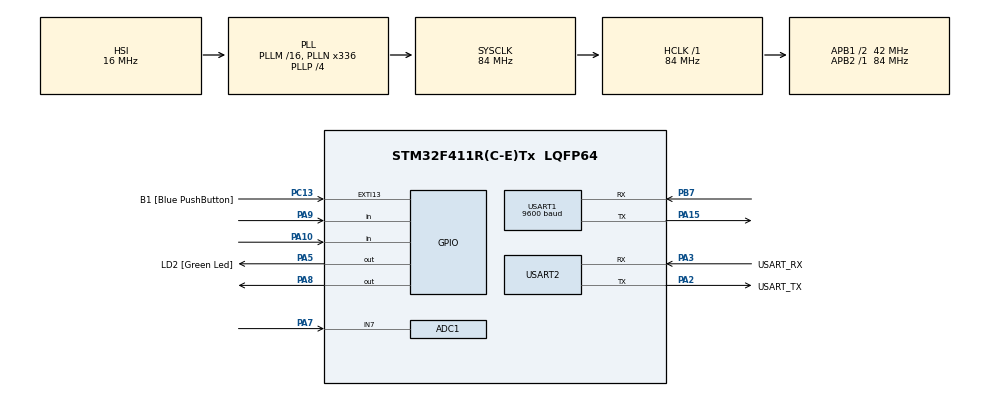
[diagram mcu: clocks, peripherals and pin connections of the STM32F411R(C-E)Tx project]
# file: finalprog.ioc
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ADC1.Channel-0\#ChannelRegularConversion=ADC_CHANNEL_7
ADC1.NbrOfConversionFlag=1
ADC1.Rank-0\#ChannelRegularConversion=1
ADC1.SamplingTime-0\#ChannelRegularConversion=ADC_SAMPLETIME_3CYCLES
ADC1.master=1
Mcu.Family=STM32F4
Mcu.Name=STM32F411R(C-E)Tx
Mcu.Package=LQFP64
NVIC.PriorityGroup=NVIC_PRIORITYGROUP_0
NVIC.TIM3_IRQn=true\:0\:0\:false\:false\:true\:true\:true
PA10.Signal=GPIO_Input
PA13.GPIO_Label=TMS
PA13.Mode=Serial_Wire
PA13.Signal=SYS_JTMS-SWDIO
PA14.GPIO_Label=TCK
PA14.Mode=Serial_Wire
PA14.Signal=SYS_JTCK-SWCLK
PA15.Mode=Asynchronous
PA15.Signal=USART1_TX
PA2.GPIO_Label=USART_TX
PA2.Mode=Asynchronous
PA2.Signal=USART2_TX
PA3.GPIO_Label=USART_RX
PA3.Mode=Asynchronous
PA3.Signal=USART2_RX
PA5.GPIO_Label=LD2 [Green Led]
PA5.Signal=GPIO_Output
PA7.Signal=ADCx_IN7
PA8.Signal=GPIO_Output
PA9.Signal=GPIO_Input
PB3.GPIO_Label=SWO
PB3.Signal=SYS_JTDO-SWO
PB7.Mode=Asynchronous
PB7.Signal=USART1_RX
PC13-ANTI_TAMP.GPIO_Label=B1 [Blue PushButton]
PC13-ANTI_TAMP.GPIO_ModeDefaultEXTI=GPIO_MODE_IT_FALLING
PC13-ANTI_TAMP.Signal=GPXTI13
PC14-OSC32_IN.Mode=LSE-External-Oscillator
PC14-OSC32_IN.Signal=RCC_OSC32_IN
PC15-OSC32_OUT.Mode=LSE-External-Oscillator
PC15-OSC32_OUT.Signal=RCC_OSC32_OUT
PH0\ -\ OSC_IN.Mode=HSE-External-Clock-Source
PH0\ -\ OSC_IN.Signal=RCC_OSC_IN
PH1\ -\ OSC_OUT.Mode=HSE-External-Clock-Source
PH1\ -\ OSC_OUT.Signal=RCC_OSC_OUT
ProjectManager.HeapSize=0x200
ProjectManager.StackSize=0x400
ProjectManager.TargetToolchain=STM32CubeIDE
RCC.48MHZClocksFreq_Value=84000000
RCC.AHBFreq_Value=84000000
RCC.APB1CLKDivider=RCC_HCLK_DIV2
RCC.APB1Freq_Value=42000000
RCC.APB1TimFreq_Value=84000000
RCC.APB2Freq_Value=84000000
RCC.APB2TimFreq_Value=84000000
RCC.CortexFreq_Value=84000000
RCC.FLatency-AdvancedSettings=FLASH_LATENCY_2
RCC.HCLKFreq_Value=84000000
RCC.HSE_VALUE=8000000
RCC.HSI_VALUE=16000000
RCC.PLLN=336
RCC.PLLP=RCC_PLLP_DIV4
RCC.SYSCLKFreq_VALUE=84000000
RCC.SYSCLKSource=RCC_SYSCLKSOURCE_PLLCLK
RCC.VCOOutputFreq_Value=336000000
SH.ADCx_IN7.0=ADC1_IN7,IN7
TIM3.Channel-Output\ Compare1\ No\ Output=TIM_CHANNEL_1
TIM3.Period=8400
TIM3.Prescaler=2000
TIM4.Prescaler=83
USART1.BaudRate=9600
USART1.VirtualMode=VM_ASYNC
USART2.VirtualMode=VM_ASYNC
VP_TIM3_VS_no_output1.Mode=Output Compare1 No Output
VP_TIM4_VS_ClockSourceINT.Mode=Internal
board=NUCLEO-F411RE

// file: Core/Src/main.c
/* USER CODE BEGIN Header */
/**
  ******************************************************************************
  * @file           : main.c
  * @brief          : Main program body
  ******************************************************************************
  * @attention
  *
  * <h2><center>&copy; Copyright (c) 2021 STMicroelectronics.
  * All rights reserved.</center></h2>
  *
  * This software component is licensed by ST under BSD 3-Clause license,
  * the "License"; You may not use this file except in compliance with the
  * License. You may obtain a copy of the License at:
  *                        opensource.org/licenses/BSD-3-Clause
  *
  ******************************************************************************
  */
/* USER CODE END Header */
#include "main.h"

/* USER CODE BEGIN PTD */
#define usTIM	TIM4
#define ECHO_GPIO_Port GPIOA
#define ECHO_Pin GPIO_PIN_9
#define TRIG_GPIO_Port GPIOA
#define TRIG_Pin GPIO_PIN_8
#define ECHO_GPIO_Port_2 GPIOA
#define ECHO_Pin_2 GPIO_PIN_10
#define TRIG_DIS 30
/* USER CODE END PTD */

ADC_HandleTypeDef hadc1;

TIM_HandleTypeDef htim3;
TIM_HandleTypeDef htim4;

UART_HandleTypeDef huart1;
UART_HandleTypeDef huart2;

void SystemClock_Config(void);
static void MX_GPIO_Init(void);
static void MX_USART2_UART_Init(void);
static void MX_TIM4_Init(void);
static void MX_ADC1_Init(void);
static void MX_TIM3_Init(void);
static void MX_USART1_UART_Init(void);

/* USER CODE BEGIN 0 */
void usDelay(uint32_t uSec)
{
	if(uSec < 2) uSec = 2;
	usTIM->ARR = uSec - 1; 	/*sets the value in the auto-reload register*/
	usTIM->EGR = 1; 			/*Re-initialises the timer*/
	usTIM->SR &= ~1; 		//Resets the flag
	usTIM->CR1 |= 1; 		//Enables the counter
	while((usTIM->SR&0x0001) != 1);
	usTIM->SR &= ~(0x0001);
}
const float speedOfSound = 0.0343/2;
float distance;
float distance_2;
int count=0;
int count2=0;
int walking=0;
char uartBuf[100];
char uartBuf_2[100];
char input[100];
int timeout_count = 0;
uint16_t AD_RES = 0, Vamb, DC_Multiplier;
void HAL_TIM_PeriodElapsedCallback(TIM_HandleTypeDef *htim){
	if(htim==&htim3){
		HAL_ADC_Start(&hadc1);
	  // Poll ADC1 Perihperal & TimeOut = 1mSec
	  HAL_ADC_PollForConversion(&hadc1, 1);
	  // Read The ADC Conversion Result & Map It To PWM DutyCycle
	  AD_RES = HAL_ADC_GetValue(&hadc1);

	  sprintf(uartBuf_2, "TID: %d\r\n",AD_RES);
	  HAL_UART_Transmit(&huart2, (uint8_t *)uartBuf_2, strlen(uartBuf_2), 100);
	}
}
/* USER CODE END 0 */

int main(void)
{
  /* USER CODE BEGIN 1 */
	uint32_t numTicks = 0;
	uint32_t numTicks_2=0;
  /* USER CODE END 1 */

  /* MCU Configuration--------------------------------------------------------*/

  /* Reset of all peripherals, Initializes the Flash interface and the Systick. */
  HAL_Init();

  /* Configure the system clock */
  SystemClock_Config();

  /* Initialize all configured peripherals */
  MX_GPIO_Init();
  MX_USART2_UART_Init();
  MX_TIM4_Init();
  MX_ADC1_Init();
  MX_TIM3_Init();
  MX_USART1_UART_Init();
  /* USER CODE BEGIN 2 */
  HAL_ADC_Start(&hadc1);
    HAL_ADC_PollForConversion(&hadc1, 1);
    Vamb = HAL_ADC_GetValue(&hadc1);
    DC_Multiplier = 65535/(4096-Vamb);
    HAL_TIM_Base_Start_IT(&htim3);
    int counttemp=0;

  /* USER CODE END 2 */

  /* Infinite loop */
  while (1)
  {

    /* USER CODE BEGIN 3 */
	  if(counttemp==10) {
		  sprintf(uartBuf, "data %d %d;\r\n", count, AD_RES);
	    			HAL_UART_Transmit(&huart1, (uint8_t *)uartBuf, strlen(uartBuf), 1000);
	    			HAL_UART_Transmit(&huart2, (uint8_t *)uartBuf, strlen(uartBuf), 1000);

	    			counttemp=0;
	  }
	  else counttemp++;

	  //Set TRIG to LOW for few uSec
	  		HAL_GPIO_WritePin(TRIG_GPIO_Port, TRIG_Pin, GPIO_PIN_RESET);
	  		usDelay(3);

	  		//*** START Ultrasonic measure routine ***//
	  		//1. Output 10 usec TRIG
	  		HAL_GPIO_WritePin(TRIG_GPIO_Port, TRIG_Pin, GPIO_PIN_SET);
	  		usDelay(10);
	  		HAL_GPIO_WritePin(TRIG_GPIO_Port, TRIG_Pin, GPIO_PIN_RESET);

	  		//2. Wait for ECHO pin rising edge
        timeout_count = 0;
	  		while(HAL_GPIO_ReadPin(ECHO_GPIO_Port, ECHO_Pin) == GPIO_PIN_RESET || HAL_GPIO_ReadPin(ECHO_GPIO_Port_2, ECHO_Pin_2) == GPIO_PIN_RESET){
          if(timeout_count >= 30000){
            sprintf(uartBuf, "before timeout %d\r\n", timeout_count);
	    		  HAL_UART_Transmit(&huart2, (uint8_t *)uartBuf, strlen(uartBuf), 1000);
            goto timeout;
          }
          timeout_count++;
        }

	  		//3. Start measuring ECHO pulse width in usec
	  		numTicks = 0;
	  		numTicks_2=0;
	  		while(HAL_GPIO_ReadPin(ECHO_GPIO_Port, ECHO_Pin) == GPIO_PIN_SET || HAL_GPIO_ReadPin(ECHO_GPIO_Port_2, ECHO_Pin_2) == GPIO_PIN_SET )
	  		{
	  			if(HAL_GPIO_ReadPin(ECHO_GPIO_Port, ECHO_Pin) == GPIO_PIN_SET) {
	  				numTicks++;
	  			}
	  			if(HAL_GPIO_ReadPin(ECHO_GPIO_Port_2, ECHO_Pin_2) == GPIO_PIN_SET ) {
	  				numTicks_2++;
	  			}

          if(numTicks > 1500){
            numTicks = 1500;
          }
          if(numTicks_2 > 1500){
            numTicks_2 = 1500;
          }

          if(numTicks >= 3000 && numTicks_2 >= 3000){
            sprintf(uartBuf, "numTicks timeout\r\n");
	    		  HAL_UART_Transmit(&huart2, (uint8_t *)uartBuf, strlen(uartBuf), 1000);
            break;
          }
	  			usDelay(2); //2.8usec
	  		};

	  		//4. Estimate distance in cm
	  		distance = (numTicks + 0.0f)*2.8*speedOfSound;
	  		distance_2= (numTicks_2 + 0.0f)*2.8*speedOfSound;

	  		//5. Print to UART terminal for debugging
	  		if(distance<TRIG_DIS||distance_2<TRIG_DIS) {
	  			//sprintf(uartBuf, "Distance (cm)  = %.1f, %.1f\r\n", distance,distance_2);
	  		//HAL_UART_Transmit(&huart2, (uint8_t *)uartBuf, strlen(uartBuf), 100);
	  			if(walking==0) {
	  				if(distance_2<TRIG_DIS) walking=1;
	  				else walking=-1;
	  			}
	  			else if (walking==1) {
	  				if(distance<TRIG_DIS) {
	  					walking=2;
	  				}
	  			}
	  			else if (walking==-1) {
	  				if(distance_2<TRIG_DIS) walking=-2;
	  			}
	  		}
	  		else {
	  			if(walking==2) count++;
	  			else if(walking==-2) count--;
	  			walking=0;
	  			//sprintf(uartBuf, "People in the room  = %d\r\n", count);
	  			//HAL_UART_Transmit(&huart2, (uint8_t *)uartBuf, strlen(uartBuf), 100);
	  			//HAL_ADC_Start(&hadc1);
	  				  			      // Poll ADC1 Perihperal & TimeOut = 1mSec
	  				//  			    	HAL_ADC_PollForConversion(&hadc1, 1);
	  				  			      // Read The ADC Conversion Result & Map It To PWM DutyCycle
	  				  //			    	AD_RES = HAL_ADC_GetValue(&hadc1);
	  				  	//		    	sprintf(uartBuf, "TID: %d\r\n", AD_RES);
	  				  		//	    	HAL_UART_Transmit(&huart2, (uint8_t *)uartBuf, strlen(uartBuf), 100);
	  		}
	  		count2=count;

        //if(HAL_UART_Receive(&huart1, &input, 1, 1000) == HAL_OK){
          //sprintf(uartBuf, "data input: %s\r\n", input);
          //HAL_UART_Transmit(&huart2, (uint8_t *)uartBuf, strlen(uartBuf), 1000);
        //}

        timeout:;
	  		HAL_Delay(50);

  }
  /* USER CODE END 3 */
}

void SystemClock_Config(void)
{
  RCC_OscInitTypeDef RCC_OscInitStruct = {0};
  RCC_ClkInitTypeDef RCC_ClkInitStruct = {0};

  /** Configure the main internal regulator output voltage
  */
  __HAL_RCC_PWR_CLK_ENABLE();
  __HAL_PWR_VOLTAGESCALING_CONFIG(PWR_REGULATOR_VOLTAGE_SCALE1);
  /** Initializes the RCC Oscillators according to the specified parameters
  * in the RCC_OscInitTypeDef structure.
  */
  RCC_OscInitStruct.OscillatorType = RCC_OSCILLATORTYPE_HSI;
  RCC_OscInitStruct.HSIState = RCC_HSI_ON;
  RCC_OscInitStruct.HSICalibrationValue = RCC_HSICALIBRATION_DEFAULT;
  RCC_OscInitStruct.PLL.PLLState = RCC_PLL_ON;
  RCC_OscInitStruct.PLL.PLLSource = RCC_PLLSOURCE_HSI;
  RCC_OscInitStruct.PLL.PLLM = 16;
  RCC_OscInitStruct.PLL.PLLN = 336;
  RCC_OscInitStruct.PLL.PLLP = RCC_PLLP_DIV4;
  RCC_OscInitStruct.PLL.PLLQ = 4;
  if (HAL_RCC_OscConfig(&RCC_OscInitStruct) != HAL_OK)
  {
    Error_Handler();
  }
  /** Initializes the CPU, AHB and APB buses clocks
  */
  RCC_ClkInitStruct.ClockType = RCC_CLOCKTYPE_HCLK|RCC_CLOCKTYPE_SYSCLK
                              |RCC_CLOCKTYPE_PCLK1|RCC_CLOCKTYPE_PCLK2;
  RCC_ClkInitStruct.SYSCLKSource = RCC_SYSCLKSOURCE_PLLCLK;
  RCC_ClkInitStruct.AHBCLKDivider = RCC_SYSCLK_DIV1;
  RCC_ClkInitStruct.APB1CLKDivider = RCC_HCLK_DIV2;
  RCC_ClkInitStruct.APB2CLKDivider = RCC_HCLK_DIV1;

  if (HAL_RCC_ClockConfig(&RCC_ClkInitStruct, FLASH_LATENCY_2) != HAL_OK)
  {
    Error_Handler();
  }
}

static void MX_ADC1_Init(void)
{

  ADC_ChannelConfTypeDef sConfig = {0};

  /** Configure the global features of the ADC (Clock, Resolution, Data Alignment and number of conversion)
  */
  hadc1.Instance = ADC1;
  hadc1.Init.ClockPrescaler = ADC_CLOCK_SYNC_PCLK_DIV4;
  hadc1.Init.Resolution = ADC_RESOLUTION_12B;
  hadc1.Init.ScanConvMode = DISABLE;
  hadc1.Init.ContinuousConvMode = DISABLE;
  hadc1.Init.DiscontinuousConvMode = DISABLE;
  hadc1.Init.ExternalTrigConvEdge = ADC_EXTERNALTRIGCONVEDGE_NONE;
  hadc1.Init.ExternalTrigConv = ADC_SOFTWARE_START;
  hadc1.Init.DataAlign = ADC_DATAALIGN_RIGHT;
  hadc1.Init.NbrOfConversion = 1;
  hadc1.Init.DMAContinuousRequests = DISABLE;
  hadc1.Init.EOCSelection = ADC_EOC_SINGLE_CONV;
  if (HAL_ADC_Init(&hadc1) != HAL_OK)
  {
    Error_Handler();
  }
  /** Configure for the selected ADC regular channel its corresponding rank in the sequencer and its sample time.
  */
  sConfig.Channel = ADC_CHANNEL_7;
  sConfig.Rank = 1;
  sConfig.SamplingTime = ADC_SAMPLETIME_3CYCLES;
  if (HAL_ADC_ConfigChannel(&hadc1, &sConfig) != HAL_OK)
  {
    Error_Handler();
  }

}

static void MX_TIM3_Init(void)
{

  TIM_MasterConfigTypeDef sMasterConfig = {0};
  TIM_OC_InitTypeDef sConfigOC = {0};

  htim3.Instance = TIM3;
  htim3.Init.Prescaler = 2000;
  htim3.Init.CounterMode = TIM_COUNTERMODE_UP;
  htim3.Init.Period = 8400;
  htim3.Init.ClockDivision = TIM_CLOCKDIVISION_DIV1;
  htim3.Init.AutoReloadPreload = TIM_AUTORELOAD_PRELOAD_DISABLE;
  if (HAL_TIM_OC_Init(&htim3) != HAL_OK)
  {
    Error_Handler();
  }
  sMasterConfig.MasterOutputTrigger = TIM_TRGO_RESET;
  sMasterConfig.MasterSlaveMode = TIM_MASTERSLAVEMODE_DISABLE;
  if (HAL_TIMEx_MasterConfigSynchronization(&htim3, &sMasterConfig) != HAL_OK)
  {
    Error_Handler();
  }
  sConfigOC.OCMode = TIM_OCMODE_TIMING;
  sConfigOC.Pulse = 0;
  sConfigOC.OCPolarity = TIM_OCPOLARITY_HIGH;
  sConfigOC.OCFastMode = TIM_OCFAST_DISABLE;
  if (HAL_TIM_OC_ConfigChannel(&htim3, &sConfigOC, TIM_CHANNEL_1) != HAL_OK)
  {
    Error_Handler();
  }

}

static void MX_TIM4_Init(void)
{

  TIM_ClockConfigTypeDef sClockSourceConfig = {0};
  TIM_MasterConfigTypeDef sMasterConfig = {0};

  htim4.Instance = TIM4;
  htim4.Init.Prescaler = 83;
  htim4.Init.CounterMode = TIM_COUNTERMODE_UP;
  htim4.Init.Period = 65535;
  htim4.Init.ClockDivision = TIM_CLOCKDIVISION_DIV1;
  htim4.Init.AutoReloadPreload = TIM_AUTORELOAD_PRELOAD_DISABLE;
  if (HAL_TIM_Base_Init(&htim4) != HAL_OK)
  {
    Error_Handler();
  }
  sClockSourceConfig.ClockSource = TIM_CLOCKSOURCE_INTERNAL;
  if (HAL_TIM_ConfigClockSource(&htim4, &sClockSourceConfig) != HAL_OK)
  {
    Error_Handler();
  }
  sMasterConfig.MasterOutputTrigger = TIM_TRGO_RESET;
  sMasterConfig.MasterSlaveMode = TIM_MASTERSLAVEMODE_DISABLE;
  if (HAL_TIMEx_MasterConfigSynchronization(&htim4, &sMasterConfig) != HAL_OK)
  {
    Error_Handler();
  }

}

static void MX_USART1_UART_Init(void)
{

  huart1.Instance = USART1;
  huart1.Init.BaudRate = 9600;
  huart1.Init.WordLength = UART_WORDLENGTH_8B;
  huart1.Init.StopBits = UART_STOPBITS_1;
  huart1.Init.Parity = UART_PARITY_NONE;
  huart1.Init.Mode = UART_MODE_TX_RX;
  huart1.Init.HwFlowCtl = UART_HWCONTROL_NONE;
  huart1.Init.OverSampling = UART_OVERSAMPLING_16;
  if (HAL_UART_Init(&huart1) != HAL_OK)
  {
    Error_Handler();
  }

}

static void MX_USART2_UART_Init(void)
{

  huart2.Instance = USART2;
  huart2.Init.BaudRate = 115200;
  huart2.Init.WordLength = UART_WORDLENGTH_8B;
  huart2.Init.StopBits = UART_STOPBITS_1;
  huart2.Init.Parity = UART_PARITY_NONE;
  huart2.Init.Mode = UART_MODE_TX_RX;
  huart2.Init.HwFlowCtl = UART_HWCONTROL_NONE;
  huart2.Init.OverSampling = UART_OVERSAMPLING_16;
  if (HAL_UART_Init(&huart2) != HAL_OK)
  {
    Error_Handler();
  }

}

static void MX_GPIO_Init(void)
{
  GPIO_InitTypeDef GPIO_InitStruct = {0};

  /* GPIO Ports Clock Enable */
  __HAL_RCC_GPIOC_CLK_ENABLE();
  __HAL_RCC_GPIOH_CLK_ENABLE();
  __HAL_RCC_GPIOA_CLK_ENABLE();
  __HAL_RCC_GPIOB_CLK_ENABLE();

  /*Configure GPIO pin Output Level */
  HAL_GPIO_WritePin(GPIOA, LD2_Pin|GPIO_PIN_8, GPIO_PIN_RESET);

  /*Configure GPIO pin : B1_Pin */
  GPIO_InitStruct.Pin = B1_Pin;
  GPIO_InitStruct.Mode = GPIO_MODE_IT_FALLING;
  GPIO_InitStruct.Pull = GPIO_NOPULL;
  HAL_GPIO_Init(B1_GPIO_Port, &GPIO_InitStruct);

  /*Configure GPIO pins : LD2_Pin PA8 */
  GPIO_InitStruct.Pin = LD2_Pin|GPIO_PIN_8;
  GPIO_InitStruct.Mode = GPIO_MODE_OUTPUT_PP;
  GPIO_InitStruct.Pull = GPIO_NOPULL;
  GPIO_InitStruct.Speed = GPIO_SPEED_FREQ_LOW;
  HAL_GPIO_Init(GPIOA, &GPIO_InitStruct);

  /*Configure GPIO pins : PA9 PA10 */
  GPIO_InitStruct.Pin = GPIO_PIN_9|GPIO_PIN_10;
  GPIO_InitStruct.Mode = GPIO_MODE_INPUT;
  GPIO_InitStruct.Pull = GPIO_NOPULL;
  HAL_GPIO_Init(GPIOA, &GPIO_InitStruct);

}

void Error_Handler(void)
{
  __disable_irq();
  while (1)
  {
  }
}

/************************ (C) COPYRIGHT STMicroelectronics *****END OF FILE****/
